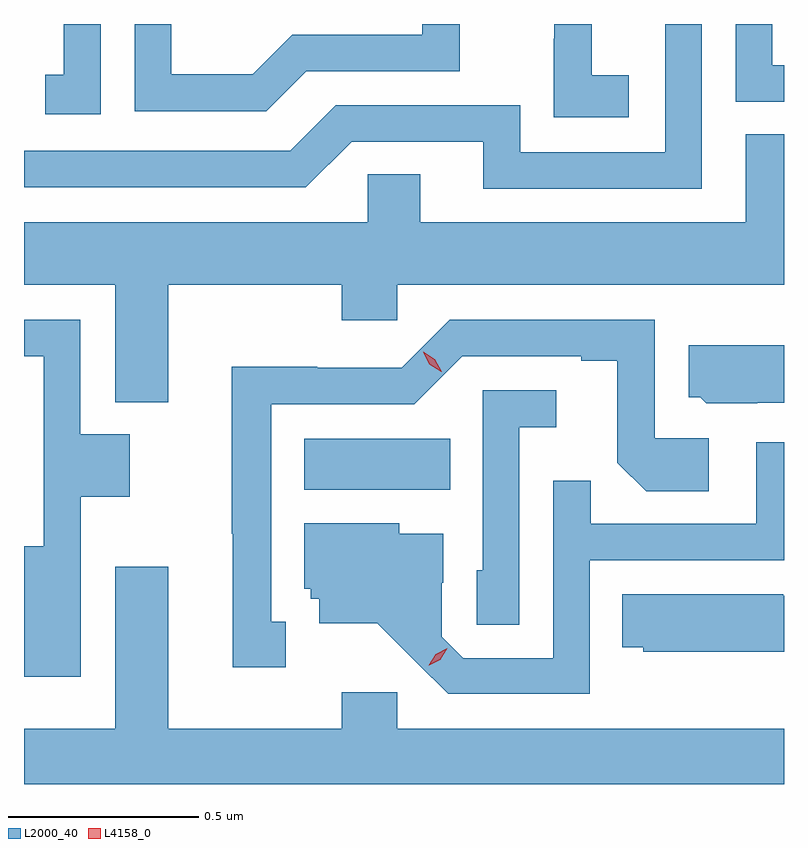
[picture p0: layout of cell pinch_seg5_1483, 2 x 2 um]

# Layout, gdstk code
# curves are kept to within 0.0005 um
import gdstk
lib = gdstk.Library(unit=1e-6, precision=1e-09)
def R(c, l, rs):  # rectangles x0, y0, x1, y1
    for r in rs: c.add(gdstk.rectangle(r[:2], r[2:], *l))
def P(c, l, *ps):  # polygons
    for p in ps: c.add(gdstk.Polygon(p, *l))
L2000_40 = (2000, 40)
L4158_0 = (4158, 0)

pinch_seg5_1483 = lib.new_cell('pinch_seg5_1483')
R(pinch_seg5_1483, L2000_40, [(137.372,882.86,137.756,882.994)])
P(pinch_seg5_1483, L2000_40, [(137.377,883.962),(137.781,883.962),(137.781,884.086),(137.682,884.086),(137.682,884.058),(137.34,884.058),(137.236,883.954),(137.022,883.954),(137.022,884.086),(136.926,884.086),(136.926,883.857),(137.272,883.857)],
  [(138.634,883.977),(138.603,883.977),(138.603,884.086),(138.507,884.086),(138.507,883.881),(138.634,883.881)],
  [(138.226,883.951),(138.128,883.951),(138.128,884.086),(138.029,884.086),(138.029,884.047),(138.028,884.047),(138.028,883.841),(138.226,883.841)],
  [(138.417,884.086),(138.321,884.086),(138.321,883.749),(137.94,883.749),(137.94,883.872),(137.454,883.872),(137.334,883.752),(136.634,883.752),(136.634,883.656),(137.376,883.656),(137.496,883.776),(137.843,883.776),(137.843,883.653),(138.417,883.653)],
  [(136.836,884.086),(136.739,884.086),(136.739,883.953),(136.69,883.953),(136.69,883.848),(136.836,883.848)],
  [(138.634,883.796),(138.533,883.796),(138.533,883.564),(137.677,883.564),(137.677,883.691),(137.538,883.691),(137.538,883.564),(136.634,883.564),(136.634,883.4),(136.874,883.4),(136.874,883.091),(137.014,883.091),(137.014,883.4),(137.47,883.4),(137.47,883.307),(137.616,883.307),(137.616,883.4),(138.634,883.4)],
  [(137.323,882.513),(137.284,882.513),(137.284,883.086),(137.661,883.086),(137.787,883.212),(138.101,883.212),(138.101,883.2),(138.195,883.2),(138.195,882.932),(138.271,882.856),(138.436,882.856),(138.436,882.996),(138.294,882.996),(138.294,883.308),(137.754,883.308),(137.628,883.182),(137.406,883.182),(137.406,883.184),(137.181,883.184),(137.181,882.745),(137.183,882.745),(137.183,882.393),(137.323,882.393)],
  [(136.783,882.842),(136.912,882.842),(136.912,883.006),(136.782,883.006),(136.782,883.308),(136.634,883.308),(136.634,883.212),(136.686,883.212),(136.686,882.712),(136.634,882.712),(136.634,882.368),(136.783,882.368)],
  [(138.564,883.089),(138.634,883.089),(138.634,883.24),(138.383,883.24),(138.383,883.104),(138.414,883.104),(138.43,883.088),(138.564,883.088)],
  [(137.937,883.025),(138.034,883.025),(138.034,883.122),(137.841,883.122),(137.841,882.648),(137.826,882.648),(137.826,882.505),(137.937,882.505)],
  [(138.123,882.675),(138.634,882.675),(138.634,882.985),(138.561,882.985),(138.561,882.771),(138.125,882.771),(138.125,882.884),(138.027,882.884),(138.027,882.417),(137.79,882.417),(137.733,882.474),(137.733,882.616),(137.737,882.616),(137.737,882.745),(137.622,882.745),(137.622,882.772),(137.372,882.772),(137.372,882.6),(137.388,882.6),(137.388,882.573),(137.411,882.573),(137.411,882.509),(137.563,882.509),(137.75,882.324),(138.123,882.324)],
  [(138.634,882.232),(137.616,882.232),(137.616,882.328),(137.47,882.328),(137.47,882.232),(137.014,882.232),(137.014,882.658),(136.874,882.658),(136.874,882.232),(136.634,882.232),(136.634,882.086),(138.634,882.086)],
  [(138.634,882.582),(138.632,882.582),(138.632,882.586),(138.208,882.586),(138.208,882.446),(138.264,882.446),(138.264,882.434),(138.634,882.434)])
P(pinch_seg5_1483, L4158_0, [(137.732,883.171),(137.701,883.19),(137.684,883.223),(137.684,883.223),(137.684,883.223),(137.715,883.204),(137.733,883.171),(137.733,883.171)],
  [(137.699,882.398),(137.699,882.398),(137.717,882.428),(137.748,882.443),(137.748,882.443),(137.748,882.443),(137.73,882.413),(137.7,882.398)])

lib.write_gds('pinch_seg5_1483.gds')
